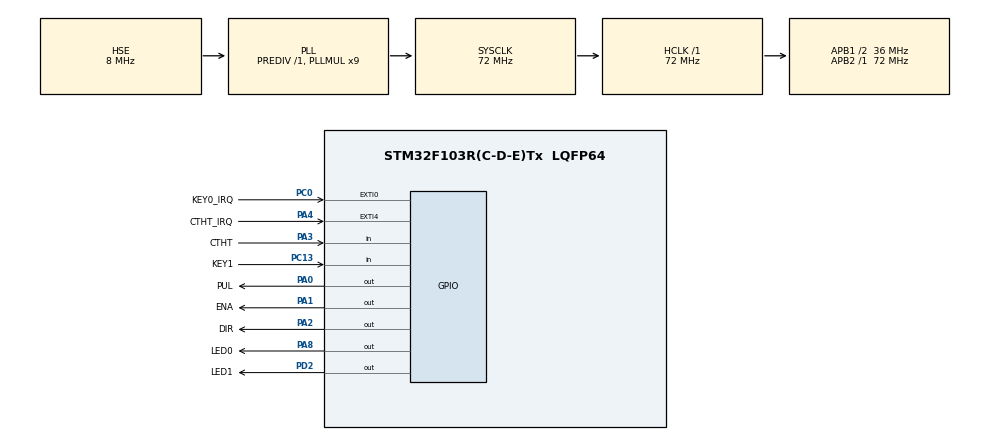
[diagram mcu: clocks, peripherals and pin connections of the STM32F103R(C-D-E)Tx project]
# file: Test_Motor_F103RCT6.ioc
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Mcu.Family=STM32F1
Mcu.Name=STM32F103R(C-D-E)Tx
Mcu.Package=LQFP64
NVIC.EXTI0_IRQn=true\:1\:0\:true\:false\:true\:true\:true\:true
NVIC.PriorityGroup=NVIC_PRIORITYGROUP_4
NVIC.TIM1_UP_IRQn=true\:2\:0\:true\:false\:true\:true\:true\:true
NVIC.TIM2_IRQn=true\:2\:0\:true\:false\:true\:true\:true\:true
PA0-WKUP.GPIO_Label=PUL
PA0-WKUP.Signal=GPIO_Output
PA1.GPIO_Label=ENA
PA1.Signal=GPIO_Output
PA13.Mode=Serial_Wire
PA13.Signal=SYS_JTMS-SWDIO
PA14.Mode=Serial_Wire
PA14.Signal=SYS_JTCK-SWCLK
PA2.GPIO_Label=DIR
PA2.Signal=GPIO_Output
PA3.GPIO_Label=CTHT
PA3.Signal=GPIO_Input
PA4.GPIO_Label=CTHT_IRQ
PA4.Signal=GPXTI4
PA8.GPIO_Label=LED0
PA8.Signal=GPIO_Output
PC0.GPIO_Label=KEY0_IRQ
PC0.Signal=GPXTI0
PC13-TAMPER-RTC.GPIO_Label=KEY1
PC13-TAMPER-RTC.GPIO_PuPd=GPIO_PULLUP
PC13-TAMPER-RTC.Signal=GPIO_Input
PD0-OSC_IN.Mode=HSE-External-Oscillator
PD0-OSC_IN.Signal=RCC_OSC_IN
PD1-OSC_OUT.Mode=HSE-External-Oscillator
PD1-OSC_OUT.Signal=RCC_OSC_OUT
PD2.GPIO_Label=LED1
PD2.Signal=GPIO_Output
ProjectManager.HeapSize=0x200
ProjectManager.StackSize=0x400
ProjectManager.TargetToolchain=MDK-ARM V5.32
RCC.AHBFreq_Value=72000000
RCC.APB1CLKDivider=RCC_HCLK_DIV2
RCC.APB1Freq_Value=36000000
RCC.APB1TimFreq_Value=72000000
RCC.APB2Freq_Value=72000000
RCC.APB2TimFreq_Value=72000000
RCC.HCLKFreq_Value=72000000
RCC.PLLMUL=RCC_PLL_MUL9
RCC.PLLSourceVirtual=RCC_PLLSOURCE_HSE
RCC.SYSCLKFreq_VALUE=72000000
RCC.SYSCLKSource=RCC_SYSCLKSOURCE_PLLCLK
RCC.USBFreq_Value=72000000
TIM1.Period=999
TIM1.Prescaler=71
TIM2.Period=9
TIM2.Prescaler=71
VP_TIM1_VS_ClockSourceINT.Mode=Internal
VP_TIM2_VS_ClockSourceINT.Mode=Internal
board=custom

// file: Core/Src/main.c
/* USER CODE BEGIN Header */
/**
  ******************************************************************************
  * @file           : main.c
  * @brief          : Main program body
  ******************************************************************************
  * @attention
  *
  * Copyright (c) 2024 STMicroelectronics.
  * All rights reserved.
  *
  * This software is licensed under terms that can be found in the LICENSE file
  * in the root directory of this software component.
  * If no LICENSE file comes with this software, it is provided AS-IS.
  *
  ******************************************************************************
  */
/* USER CODE END Header */
#include "main.h"

/* USER CODE BEGIN Includes */
#include <stdbool.h>
#include <stepper.h>

/* USER CODE END Includes */

TIM_HandleTypeDef htim1;
TIM_HandleTypeDef htim2;

/* USER CODE BEGIN PV */
	uint16_t flag_10us = 0;

	uint32_t time_tick_ms = 0;

	uint16_t cnt_flag_led0 = 0;
	uint16_t cnt_flag_led1 = 0;
	uint16_t time_blink_led0 = 500;
	uint16_t time_blink_led1 = 1000;

	uint32_t start_time = 0;
	uint32_t interval = 0;

	uint8_t vartest = 0;
	uint8_t run = 0;
	uint16_t period = 80;
	uint32_t PulseCurrent = 0;
	uint32_t PulseTarget = 25600*5;

	bool flag_startPul = true;

	uint8_t getPin1 = 0, setSP = 0, vSPpos = I;

	int32_t target_Pul = 25600;
	volatile uint32_t __s = 0, __e = 0, __i = 0;

	// FLASH variables
	float FLASH_degree_I = 10.52f;
	float FLASH_degree_II = 46.51f;
	float FLASH_degree_III = 82.33f;
	float FLASH_degree_IV = 118.11f;
	float FLASH_degree_V = 154.78f;
	uint8_t FLASH_previous_position = III;
	float FLASH_speed = 2.93f;				// rpm

	// BLUETOOTH variables
	float BLT_degree = 0;
	uint8_t BLT_Pos_set = 0;

	// MCU variables
	float MCU_degree_I = 0;
	float MCU_degree_II = 0;
	float MCU_degree_III = 0;
	float MCU_degree_IV = 0;
	float MCU_degree_V = 0;
	uint8_t MCU_previous_position = 0;
	float MCU_speed_needle = 0;				// rpm

	uint8_t MCU_command_toSetDegree = 0;
	uint8_t MCU_command_toZero = 0;
	uint8_t  MCU_command_toRUNFREE = 0;
	uint8_t   MCU_command_toConfirm = 0;
	uint8_t  MCU_command_toAutoRun = 0;
	uint8_t MCU_command_toChangeLevel = 0;

	uint8_t flag_delay = 0;
	uint8_t an = 1;
	uint8_t result = 0;
	volatile bool flag_delay_motor = true;

	uint8_t cnt_motor_process = 0;

/* USER CODE END PV */

void SystemClock_Config(void);
static void MX_GPIO_Init(void);
static void MX_TIM1_Init(void);
static void MX_TIM2_Init(void);

/* USER CODE BEGIN 0 */
	uint32_t getMicroSecond(void){
		return time_tick_ms*1000 + __HAL_TIM_GetCounter(&htim1);
	}

	void HAL_TIM_PeriodElapsedCallback(TIM_HandleTypeDef *htim)
		{
			UNUSED(htim);
			//--------------------------------------------------------
			if (htim->Instance == htim1.Instance){ 	// every 1ms
				time_tick_ms++;
				cnt_flag_led0++;
				cnt_flag_led1++;
			}
			//--------------------------------------------------------
			if (htim->Instance == htim2.Instance){ 	// every 10us
				if(run == 3){
					if(++cnt_motor_process == 2){
						if(MCU_command_toSetDegree == 1){
							MCU_command_toSetDegree = 0;
							Command_toSetDegree(&vMotor, BLT_Pos_set, BLT_degree);
						}
						if(MCU_command_toZero == 1){
							MCU_command_toZero = 0;
							Command_toZERO(&vMotor);
						}
						if(MCU_command_toRUNFREE == 1){
							MCU_command_toRUNFREE = 0;
							Command_toRUNFREE(&vMotor, target_Pul);
						}
						if(MCU_command_toConfirm == 1){
							MCU_command_toConfirm = 0;
							Command_toConfirm(&vMotor);
						}
						if(MCU_command_toAutoRun == 1){
							MCU_command_toAutoRun = 0;
							Command_toAutoRun(&vMotor);
						}
						if(MCU_command_toChangeLevel == 1){
							MCU_command_toChangeLevel = 0;
							Command_toChangeLevel(&vMotor, vSPpos);
						}
						if(setSP == 1){
							SetTargetPos(&vMotor, vSPpos);
							setSP = 0;
						}
						Process_Motor(&vMotor);
						cnt_motor_process = 0;
					}
				}

			}
		}

/* USER CODE END 0 */

int main(void)
{

  /* MCU Configuration--------------------------------------------------------*/

  /* Reset of all peripherals, Initializes the Flash interface and the Systick. */
  HAL_Init();

  /* Configure the system clock */
  SystemClock_Config();

  /* Initialize all configured peripherals */
  MX_GPIO_Init();
  MX_TIM1_Init();
  MX_TIM2_Init();
  /* USER CODE BEGIN 2 */
		HAL_GPIO_WritePin(LED0_GPIO_Port, LED0_Pin, GPIO_PIN_SET);
		HAL_GPIO_WritePin(LED1_GPIO_Port, LED1_Pin, GPIO_PIN_SET);

		/*Get parameter from flash here*/
		MCU_degree_I = FLASH_degree_I;
		MCU_degree_I = FLASH_degree_I;
		MCU_degree_I = FLASH_degree_I;
		MCU_degree_I = FLASH_degree_I;
		MCU_degree_I = FLASH_degree_I;
		MCU_previous_position = FLASH_previous_position;
		MCU_speed_needle = FLASH_speed;

		/*Init the parameter*/
		Motor_Init(&vMotor, 25600, MCU_speed_needle, 20, MCU_previous_position);
		Degree_Setup(&vMotor, FLASH_degree_I, FLASH_degree_II, FLASH_degree_III, FLASH_degree_IV, FLASH_degree_V);

		HAL_GPIO_WritePin(LED0_GPIO_Port, LED0_Pin, GPIO_PIN_SET);
		HAL_GPIO_WritePin(LED1_GPIO_Port, LED1_Pin, GPIO_PIN_SET);

		/*Start timer irq*/
		HAL_TIM_Base_Start_IT(&htim1);
		HAL_TIM_Base_Start_IT(&htim2);

//		HAL_GPIO_WritePin(ENA_GPIO_Port, ENA_Pin, GPIO_PIN_SET);
//		HAL_GPIO_WritePin(DIR_GPIO_Port, DIR_Pin, GPIO_PIN_RESET);

  /* USER CODE END 2 */

  /* Infinite loop */
  while (1)
  {

    /* USER CODE BEGIN 3 */
//		HAL_GPIO_TogglePin(LED0_GPIO_Port, LED0_Pin);
//		HAL_Delay(100);

		//---------------------------------------------------------------------------
		if(cnt_flag_led0 >= time_blink_led0){
			cnt_flag_led0 = 0;
			//HAL_GPIO_TogglePin(LED0_GPIO_Port, LED0_Pin);
		}

		if(cnt_flag_led1 >= time_blink_led1){
			cnt_flag_led1 = 0;
			//HAL_GPIO_TogglePin(LED1_GPIO_Port, LED1_Pin);
		}

		//---------------------------------------------------------------------------
		if(vartest == 1){
			HAL_GPIO_WritePin(ENA_GPIO_Port, ENA_Pin, GPIO_PIN_RESET);
		}
		else if(vartest == 2){
			HAL_GPIO_WritePin(ENA_GPIO_Port, ENA_Pin, GPIO_PIN_SET);
		}
		//---------------------------------------------------------------------------
		if(run == 1){
			if(flag_startPul){
				start_time = getMicroSecond();
				flag_startPul = false;
			}
			else{
				interval = getMicroSecond() - start_time;
				if(interval <= period/3)
					HAL_GPIO_WritePin(PUL_GPIO_Port, PUL_Pin, GPIO_PIN_SET);
				else{
					if(interval <= period)
						HAL_GPIO_WritePin(PUL_GPIO_Port, PUL_Pin, GPIO_PIN_RESET);
					else{
						flag_startPul = true;
						/*Hoan thanh 1 xung*/
						PulseCurrent++;
						start_time = 0;
						interval = 0;

					}
				}
			}
			if(PulseCurrent == PulseTarget){
				run = 0;
				PulseCurrent = 0;
			}
			getPin1 = HAL_GPIO_ReadPin(KEY1_GPIO_Port, KEY1_Pin);
			if(!getPin1){
				run = 0;
				PulseCurrent = 0;
			}
		}
		//---------------------------------------------------------------------------
		if(run == 2){
			if(setSP == 1){
				SetTargetPos(&vMotor, vSPpos);
				setSP = 0;
			}
			Process_Motor(&vMotor);
		}
		//---------------------------------------------------------------------------
//		if(run == 3){
//			if(MCU_command_toSetDegree == 1){
//				MCU_command_toSetDegree = 0;
//				Command_toSetDegree(&vMotor, BLT_Pos_set, BLT_degree);
//			}

//			if(MCU_command_toZero == 1){
//				MCU_command_toZero = 0;
//				Command_toZERO(&vMotor);
//			}
//
//			if(MCU_command_toRUNFREE == 1){
//				MCU_command_toRUNFREE = 0;
//				Command_toRUNFREE(&vMotor, target_Pul);
//			}
//
//			if(MCU_command_toConfirm == 1){
//				MCU_command_toConfirm = 0;
//				Command_toConfirm(&vMotor);
//			}
//
//			if(MCU_command_toAutoRun == 1){
//				MCU_command_toAutoRun = 0;
//				Command_toAutoRun(&vMotor);
//			}
//			if(MCU_command_toChangeLevel == 1){
//				MCU_command_toChangeLevel = 0;
//				Command_toChangeLevel(&vMotor, vSPpos);
//			}
//
//			if(setSP == 1){
//				SetTargetPos(&vMotor, vSPpos);
//				setSP = 0;
//			}
//
//			Process_Motor(&vMotor);
//		}

		//---------------------------------------------------------------------------
		//---------------------------------------------------------------------------
		if(run == 4){
			Process_Motor(&vMotor);
			if(flag_delay == 0){
				if(an){
					an = 0;
					Command_toZERO(&vMotor);
				}
				if(result == 1){
					result = 0;
					flag_delay = 1;
					if(++MCU_command_toZero > 5){
						MCU_command_toZero = 1;

					}
					an = 1;
				}
			}
			else if(flag_delay == 1){
				if(MCU_command_toZero == 1){
					if(an){
						an = 0;
						Command_toRUNFREE(&vMotor, vMotor.num_Pul_I);
					}
				}
				else if(MCU_command_toZero == 2){
					if(an){
						an = 0;
						Command_toRUNFREE(&vMotor, vMotor.num_Pul_II);
					}
				}
				else if(MCU_command_toZero == 3){
					if(an){
						an = 0;
						Command_toRUNFREE(&vMotor, vMotor.num_Pul_III);
					}
				}
				else if(MCU_command_toZero == 4){
					if(an){
						an = 0;
						Command_toRUNFREE(&vMotor, vMotor.num_Pul_IV);
					}
				}
				else if(MCU_command_toZero == 5){
					if(an){
						an = 0;
						Command_toRUNFREE(&vMotor, vMotor.num_Pul_V);
					}
				}

				if(result == 2){
					flag_delay = 2;
					result = 0;
				}
			}
			else if(flag_delay == 2){
				flag_delay = 3;
				start_time = getMicroSecond();
			}
			else if(flag_delay == 3){
				if((getMicroSecond() - start_time) >= 2000000){
					flag_delay = 0;
					an = 1;

				}
			}
		}

		//---------------------------------------------------------------------------

		//			if(BLT_Pos_set != 0){
//				if(BLT_Pos_set == 1){
//					Degree_Setting(&vMotor, I, BLT_degree);
//				}
//				else if(BLT_Pos_set == 2){
//					Degree_Setting(&vMotor, II, BLT_degree);
//				}
//				else if(BLT_Pos_set == 3){
//					Degree_Setting(&vMotor, III, BLT_degree);
//				}
//				else if(BLT_Pos_set == 4){
//					Degree_Setting(&vMotor, IV, BLT_degree);
//				}
//				else if(BLT_Pos_set == 5){
//					Degree_Setting(&vMotor, V, BLT_degree);
//				}
//				else;
//				BLT_Pos_set = 0;
//			}

		//---------------------------------------------------------------------------
  }
  /* USER CODE END 3 */
}

void SystemClock_Config(void)
{
  RCC_OscInitTypeDef RCC_OscInitStruct = {0};
  RCC_ClkInitTypeDef RCC_ClkInitStruct = {0};

  /** Initializes the RCC Oscillators according to the specified parameters
  * in the RCC_OscInitTypeDef structure.
  */
  RCC_OscInitStruct.OscillatorType = RCC_OSCILLATORTYPE_HSE;
  RCC_OscInitStruct.HSEState = RCC_HSE_ON;
  RCC_OscInitStruct.HSEPredivValue = RCC_HSE_PREDIV_DIV1;
  RCC_OscInitStruct.HSIState = RCC_HSI_ON;
  RCC_OscInitStruct.PLL.PLLState = RCC_PLL_ON;
  RCC_OscInitStruct.PLL.PLLSource = RCC_PLLSOURCE_HSE;
  RCC_OscInitStruct.PLL.PLLMUL = RCC_PLL_MUL9;
  if (HAL_RCC_OscConfig(&RCC_OscInitStruct) != HAL_OK)
  {
    Error_Handler();
  }

  /** Initializes the CPU, AHB and APB buses clocks
  */
  RCC_ClkInitStruct.ClockType = RCC_CLOCKTYPE_HCLK|RCC_CLOCKTYPE_SYSCLK
                              |RCC_CLOCKTYPE_PCLK1|RCC_CLOCKTYPE_PCLK2;
  RCC_ClkInitStruct.SYSCLKSource = RCC_SYSCLKSOURCE_PLLCLK;
  RCC_ClkInitStruct.AHBCLKDivider = RCC_SYSCLK_DIV1;
  RCC_ClkInitStruct.APB1CLKDivider = RCC_HCLK_DIV2;
  RCC_ClkInitStruct.APB2CLKDivider = RCC_HCLK_DIV1;

  if (HAL_RCC_ClockConfig(&RCC_ClkInitStruct, FLASH_LATENCY_2) != HAL_OK)
  {
    Error_Handler();
  }
}

static void MX_TIM1_Init(void)
{

  TIM_ClockConfigTypeDef sClockSourceConfig = {0};
  TIM_MasterConfigTypeDef sMasterConfig = {0};

  htim1.Instance = TIM1;
  htim1.Init.Prescaler = 71;
  htim1.Init.CounterMode = TIM_COUNTERMODE_UP;
  htim1.Init.Period = 999;
  htim1.Init.ClockDivision = TIM_CLOCKDIVISION_DIV1;
  htim1.Init.RepetitionCounter = 0;
  htim1.Init.AutoReloadPreload = TIM_AUTORELOAD_PRELOAD_DISABLE;
  if (HAL_TIM_Base_Init(&htim1) != HAL_OK)
  {
    Error_Handler();
  }
  sClockSourceConfig.ClockSource = TIM_CLOCKSOURCE_INTERNAL;
  if (HAL_TIM_ConfigClockSource(&htim1, &sClockSourceConfig) != HAL_OK)
  {
    Error_Handler();
  }
  sMasterConfig.MasterOutputTrigger = TIM_TRGO_RESET;
  sMasterConfig.MasterSlaveMode = TIM_MASTERSLAVEMODE_DISABLE;
  if (HAL_TIMEx_MasterConfigSynchronization(&htim1, &sMasterConfig) != HAL_OK)
  {
    Error_Handler();
  }

}

static void MX_TIM2_Init(void)
{

  TIM_ClockConfigTypeDef sClockSourceConfig = {0};
  TIM_MasterConfigTypeDef sMasterConfig = {0};

  htim2.Instance = TIM2;
  htim2.Init.Prescaler = 71;
  htim2.Init.CounterMode = TIM_COUNTERMODE_UP;
  htim2.Init.Period = 9;
  htim2.Init.ClockDivision = TIM_CLOCKDIVISION_DIV1;
  htim2.Init.AutoReloadPreload = TIM_AUTORELOAD_PRELOAD_DISABLE;
  if (HAL_TIM_Base_Init(&htim2) != HAL_OK)
  {
    Error_Handler();
  }
  sClockSourceConfig.ClockSource = TIM_CLOCKSOURCE_INTERNAL;
  if (HAL_TIM_ConfigClockSource(&htim2, &sClockSourceConfig) != HAL_OK)
  {
    Error_Handler();
  }
  sMasterConfig.MasterOutputTrigger = TIM_TRGO_RESET;
  sMasterConfig.MasterSlaveMode = TIM_MASTERSLAVEMODE_DISABLE;
  if (HAL_TIMEx_MasterConfigSynchronization(&htim2, &sMasterConfig) != HAL_OK)
  {
    Error_Handler();
  }

}

static void MX_GPIO_Init(void)
{
  GPIO_InitTypeDef GPIO_InitStruct = {0};

  /* GPIO Ports Clock Enable */
  __HAL_RCC_GPIOC_CLK_ENABLE();
  __HAL_RCC_GPIOD_CLK_ENABLE();
  __HAL_RCC_GPIOA_CLK_ENABLE();

  /*Configure GPIO pin Output Level */
  HAL_GPIO_WritePin(GPIOA, PUL_Pin|ENA_Pin|DIR_Pin|LED0_Pin, GPIO_PIN_RESET);

  /*Configure GPIO pin Output Level */
  HAL_GPIO_WritePin(LED1_GPIO_Port, LED1_Pin, GPIO_PIN_RESET);

  /*Configure GPIO pin : KEY1_Pin */
  GPIO_InitStruct.Pin = KEY1_Pin;
  GPIO_InitStruct.Mode = GPIO_MODE_INPUT;
  GPIO_InitStruct.Pull = GPIO_PULLUP;
  HAL_GPIO_Init(KEY1_GPIO_Port, &GPIO_InitStruct);

  /*Configure GPIO pin : KEY0_IRQ_Pin */
  GPIO_InitStruct.Pin = KEY0_IRQ_Pin;
  GPIO_InitStruct.Mode = GPIO_MODE_IT_RISING;
  GPIO_InitStruct.Pull = GPIO_NOPULL;
  HAL_GPIO_Init(KEY0_IRQ_GPIO_Port, &GPIO_InitStruct);

  /*Configure GPIO pins : PUL_Pin ENA_Pin DIR_Pin LED0_Pin */
  GPIO_InitStruct.Pin = PUL_Pin|ENA_Pin|DIR_Pin|LED0_Pin;
  GPIO_InitStruct.Mode = GPIO_MODE_OUTPUT_PP;
  GPIO_InitStruct.Pull = GPIO_NOPULL;
  GPIO_InitStruct.Speed = GPIO_SPEED_FREQ_LOW;
  HAL_GPIO_Init(GPIOA, &GPIO_InitStruct);

  /*Configure GPIO pin : CTHT_Pin */
  GPIO_InitStruct.Pin = CTHT_Pin;
  GPIO_InitStruct.Mode = GPIO_MODE_INPUT;
  GPIO_InitStruct.Pull = GPIO_NOPULL;
  HAL_GPIO_Init(CTHT_GPIO_Port, &GPIO_InitStruct);

  /*Configure GPIO pin : CTHT_IRQ_Pin */
  GPIO_InitStruct.Pin = CTHT_IRQ_Pin;
  GPIO_InitStruct.Mode = GPIO_MODE_IT_RISING;
  GPIO_InitStruct.Pull = GPIO_NOPULL;
  HAL_GPIO_Init(CTHT_IRQ_GPIO_Port, &GPIO_InitStruct);

  /*Configure GPIO pin : LED1_Pin */
  GPIO_InitStruct.Pin = LED1_Pin;
  GPIO_InitStruct.Mode = GPIO_MODE_OUTPUT_PP;
  GPIO_InitStruct.Pull = GPIO_NOPULL;
  GPIO_InitStruct.Speed = GPIO_SPEED_FREQ_LOW;
  HAL_GPIO_Init(LED1_GPIO_Port, &GPIO_InitStruct);

  /* EXTI interrupt init*/
  HAL_NVIC_SetPriority(EXTI0_IRQn, 1, 0);
  HAL_NVIC_EnableIRQ(EXTI0_IRQn);

}

void Error_Handler(void)
{
  __disable_irq();
  while (1)
  {
  }
}
